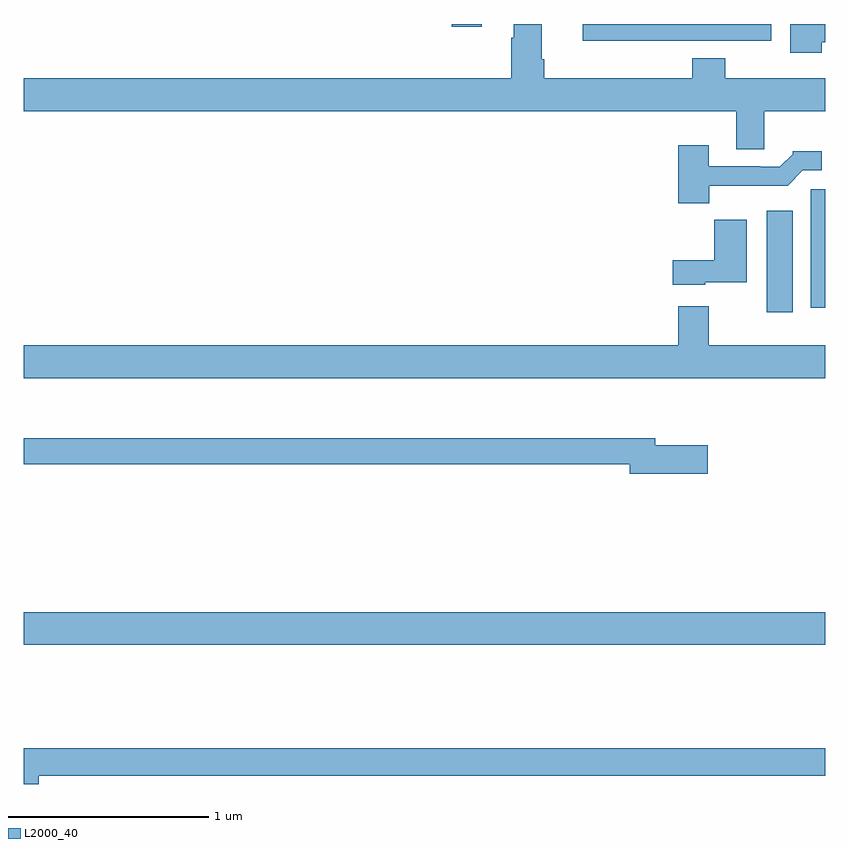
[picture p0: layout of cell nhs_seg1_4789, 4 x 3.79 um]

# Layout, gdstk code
import gdstk
lib = gdstk.Library(unit=1e-6, precision=1e-09)
def R(c, l, rs):  # rectangles x0, y0, x1, y1
    for r in rs: c.add(gdstk.rectangle(r[:2], r[2:], *l))
def P(c, l, *ps):  # polygons
    for p in ps: c.add(gdstk.Polygon(p, *l))
L2000_40 = (2000, 40)

nhs_seg1_4789 = lib.new_cell('nhs_seg1_4789')
R(nhs_seg1_4789, L2000_40, [(371,517.1,375,517.264), (374.708,518.76,374.839,519.268), (374.927,518.784,375,519.375), (373.137,520.185,373.285,520.199)])
P(nhs_seg1_4789, L2000_40, [(374.695,519.764),(375,519.764),(375,519.928),(374.501,519.928),(374.501,520.027),(374.336,520.027),(374.336,519.928),(373.598,519.928),(373.598,520.024),(373.585,520.024),(373.585,520.199),(373.445,520.199),(373.445,520.13),(373.433,520.13),(373.433,519.928),(371,519.928),(371,519.764),(374.555,519.764),(374.555,519.574),(374.695,519.574)],
  [(374.982,520.107),(375,520.107),(375,520.199),(374.826,520.199),(374.826,520.056),(374.982,520.056)],
  [(374.252,520.116),(374.73,520.116),(374.73,520.199),(373.79,520.199),(373.79,520.115),(374.252,520.115)],
  [(374.422,519.392),(374.813,519.392),(374.889,519.468),(374.983,519.468),(374.983,519.565),(374.838,519.565),(374.838,519.55),(374.774,519.486),(374.675,519.486),(374.675,519.489),(374.419,519.489),(374.419,519.595),(374.267,519.595),(374.267,519.305),(374.422,519.305)],
  [(374.4,518.909),(374.608,518.909),(374.608,519.223),(374.446,519.223),(374.446,519.019),(374.238,519.019),(374.238,518.897),(374.4,518.897)],
  [(375,518.596),(374.419,518.596),(374.419,518.791),(374.267,518.791),(374.267,518.596),(371,518.596),(371,518.432),(375,518.432)],
  [(374.413,518.097),(374.152,518.097),(374.152,518.131),(371,518.131),(371,518.002),(374.024,518.002),(374.024,517.955),(374.413,517.955)],
  [(371.074,516.448),(375,516.448),(375,516.584),(371,516.584),(371,516.406),(371.074,516.406)])

lib.write_gds('nhs_seg1_4789.gds')
